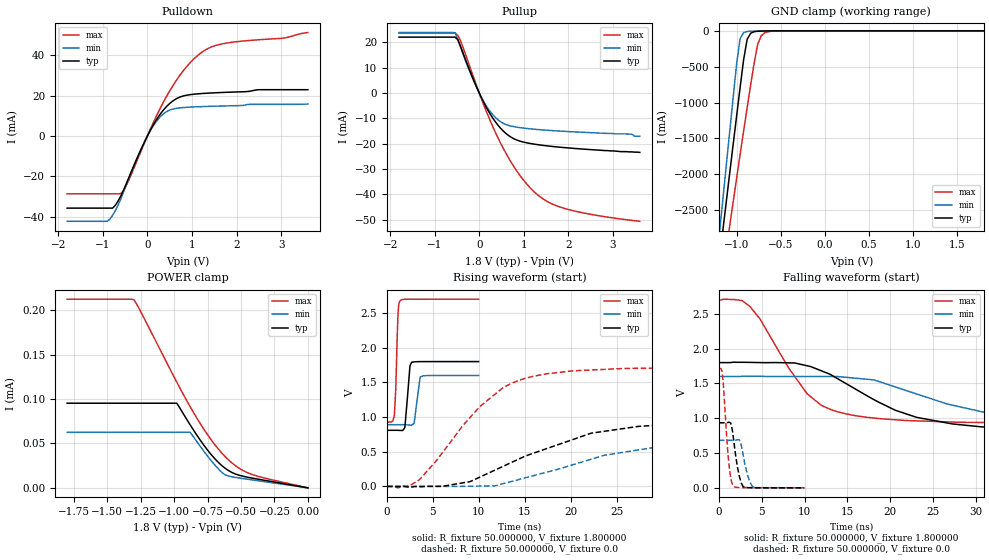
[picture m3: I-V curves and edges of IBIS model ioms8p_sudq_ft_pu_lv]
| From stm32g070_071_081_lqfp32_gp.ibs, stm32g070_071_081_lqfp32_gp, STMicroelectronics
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|   Model ioms8p_sudq_ft_pu_lv
[Model]  ioms8p_sudq_ft_pu_lv
Model_type I/O
Polarity   Non-Inverting
Enable   Active-Low
Vinl =   0.540000V
Vinh =   1.260000V
Vmeas =  0.900000V
Cref =   50.000000pF
Rref =   100.000000M
Vref =   0.0V
C_comp   1.984800pF   1.899400pF   2.077500pF
[Temperature Range]   25.000000   -40.000000   0.125000k
[Pullup Reference]   1.800000V   1.600000V   2.700000V
[Pulldown Reference]   0.0V   0.0V   0.0V
[POWER Clamp Reference]   1.800000V   1.600000V   2.700000V
[GND Clamp Reference]   0.0V   0.0V   0.0V
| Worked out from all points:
|   slope of the pulldown table from 0 to 0.27 V, typ, clamps not added: 26.4 ohm
|   slope of the pullup table from 0 to 0.27 V, typ, clamps not added: 30.1 ohm
|   GND clamp passes 1 mA (typ) near -0.61 V on its own axis
|   rising waveform, R_fixture 50.000000, V_fixture 1.800000: 20-80 % time 371ps typ, 419ps min, 254ps max; typ from 0.81 V to 1.8 V
|   rising waveform, R_fixture 50.000000, V_fixture 0.0: 20-80 % time 10.8ns typ, 12.9ns min, 6.96ns max; typ from 0.001 V to 0.935 V
|   falling waveform, R_fixture 50.000000, V_fixture 1.800000: 20-80 % time 9.93ns typ, 12.5ns min, 5.81ns max; typ from 1.8 V to 0.81 V
|   falling waveform, R_fixture 50.000000, V_fixture 0.0: 20-80 % time 694ps typ, 759ps min, 590ps max; typ from 0.935 V to 0.001 V
[Pulldown]
|Voltage   I(typ)   I(min)   I(max)
-1.8V     -35.64mA   -42.15mA   -28.59mA
-900mV    -35.64mA   -42.15mA   -28.59mA
-780mV    -35.64mA   -39.2mA    -28.59mA
-600mV    -29.83mA   -31.3mA    -28.52mA
-420mV    -20.8mA    -21.07mA   -21.98mA
60mV      2.604mA    2.459mA    3.062mA
240mV     9.303mA    8.31mA     11.61mA
480mV     15.67mA    12.64mA    21.52mA
720mV     19.18mA    13.9mA     29.74mA
960mV     20.46mA    14.3mA     36.27mA
1.44V     21.29mA    14.7mA     44.06mA
3.6V      22.91mA    15.79mA    51.15mA
[Pullup]
|Voltage   I(typ)   I(min)   I(max)
-1.8V     22.09mA    23.9mA     23.64mA
-540mV    22.09mA    23.85mA    23.64mA
-480mV    21.02mA    21.11mA    22.74mA
-60mV     2.392mA    2.26mA     2.893mA
300mV     -9.801mA   -8.48mA    -13.12mA
480mV     -13.91mA   -11.33mA   -19.82mA
720mV     -17.48mA   -13.04mA   -27.45mA
1.02V     -19.45mA   -13.87mA   -34.96mA
1.32V     -20.37mA   -14.39mA   -40.32mA
1.62V     -21.02mA   -14.78mA   -43.66mA
2.04V     -21.71mA   -15.22mA   -46.12mA
3.6V      -23.4mA    -17mA      -50.6mA
[GND_clamp]
|Voltage   I(typ)   I(min)   I(max)
-1.8V     -9.477A    -9.805A    -9.016A
-1.2V     -3.243A    -2.9A      -3.759A
-1.16V    -2.83A     -2.409A    -3.417A
-1.12V    -2.418A    -1.919A    -3.076A
-1.08V    -2.008A    -1.431A    -2.736A
-1V       -1.194A    -466mA     -2.061A
-960mV    -792.8mA   -108.7mA   -1.727A
-920mV    -402mA     -24.35mA   -1.396A
-880mV    -117.8mA   -9.188mA   -1.071A
-760mV    -5.896mA   -2.88mA    -183.8mA
-680mV    -2.395mA   -1.099mA   -26.61mA
1.8V      0A         0A         0A
[POWER_clamp]
|Voltage   I(typ)   I(min)   I(max)
-1.8V     95.27uA    62.52uA    212.4uA
-1.3V     95.27uA    62.52uA    211.7uA
-1.24V    95.27uA    62.52uA    195.4uA
-980mV    95.27uA    62.52uA    119uA
-880mV    70.93uA    62.52uA    91.35uA
-740mV    40.61uA    33.79uA    57.65uA
-640mV    24.64uA    16.99uA    38.63uA
-600mV    20.11uA    13.6uA     32.43uA
-540mV    15.51uA    11.72uA    24.8uA
-440mV    11.66uA    9.491uA    16.35uA
-340mV    8.934uA    7.326uA    11.65uA
0V        0A         0A         0A
[Ramp]
| variable   typ   min   max
dV/dt_r  0.55941/10.79580n   0.40761/12.82955n   1.02729/6.95129n
dV/dt_f  0.58889/9.90915n   0.41170/12.44957n   1.06297/5.80742n
R_load = 50.000000
[Rising Waveform]
R_fixture= 50.000000
V_fixture= 1.800000
V_fixture_min= 1.600000
V_fixture_max= 2.700000
|time   V(typ)   V(min)   V(max)
0s        809.8mV    890.3mV    928mV
800.8ps   809.8mV    890.3mV    1.024V
961ps     809.7mV    890.3mV    1.426V
1.201ns   809.4mV    890.3mV    2.493V
1.461ns   807.3mV    890.3mV    2.681V
1.942ns   848.8mV    889.7mV    2.697V
2.503ns   1.739V     885mV      2.698V
2.683ns   1.79V      882.7mV    2.698V
3.624ns   1.799V     1.579V     2.698V
9.97ns    1.8V       1.6V       2.7V
[Rising Waveform]
R_fixture= 50.000000
V_fixture= 0.0
V_fixture_min= 0.0
V_fixture_max= 0.0
|time   V(typ)   V(min)   V(max)
0s        728.2uV    547.5uV    1.27mV
1.201ns   748.8uV    546.1uV    -19.75mV
3.504ns   2.314mV    -7.576mV   93.88mV
10.11ns   135.3mV    5.523mV    1.152V
12.71ns   295mV      43.05mV    1.429V
15.32ns   450.8mV    133.8mV    1.568V
22.22ns   767.9mV    393mV      1.679V
27.33ns   865.1mV    526mV      1.703V
31.53ns   900.8mV    613mV      1.708V
49.85ns   935.3mV    683.1mV    1.715V
[Falling Waveform]
R_fixture= 50.000000
V_fixture= 1.800000
V_fixture_min= 1.600000
V_fixture_max= 2.700000
|time   V(typ)   V(min)   V(max)
0s        1.8V       1.6V       2.7V
2.703ns   1.805V     1.604V     2.691V
3.604ns   1.803V     1.603V     2.607V
10.31ns   1.754V     1.6V       1.351V
12.01ns   1.679V     1.6V       1.182V
13.91ns   1.565V     1.599V     1.091V
20.62ns   1.114V     1.449V     978.6mV
27.13ns   921.4mV    1.192V     946.4mV
34.23ns   850.4mV    995.9mV    935.6mV
49.85ns   809.8mV    890.3mV    928mV
[Falling Waveform]
R_fixture= 50.000000
V_fixture= 0.0
V_fixture_min= 0.0
V_fixture_max= 0.0
|time   V(typ)   V(min)   V(max)
0s        935.3mV    683.1mV    1.715V
440.4ps   935.2mV    683.1mV    1.599V
1.121ns   942.3mV    683mV      404.6mV
1.381ns   931.5mV    682.9mV    148.2mV
1.662ns   743.6mV    682.4mV    31.23mV
2.362ns   180.6mV    692.5mV    5.887mV
2.823ns   20.98mV    478.4mV    5.182mV
3.584ns   2.007mV    96.88mV    4.863mV
4.164ns   1.186mV    4.284mV    4.257mV
9.97ns    728.2uV    547.5uV    1.27mV
